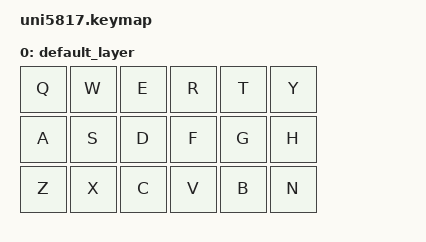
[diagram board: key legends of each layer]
// This file was generated from a template. Edit it to match your keyboard.
// See https://zmk.dev/docs/development/hardware-integration/new-shield for more instructions.

#include <behaviors.dtsi>
#include <dt-bindings/zmk/keys.h>

/ {
    // Define a default keymap here.
    // See https://zmk.dev/docs/development/hardware-integration/new-shield#default-keymap.
    keymap {
        compatible = "zmk,keymap";

        default_layer {
            bindings = <
                &kp Q  &kp W  &kp E  &kp R  &kp T  &kp Y
                &kp A  &kp S  &kp D  &kp F  &kp G  &kp H
                &kp Z  &kp X  &kp C  &kp V  &kp B  &kp N
            >;
        };
    };
};
